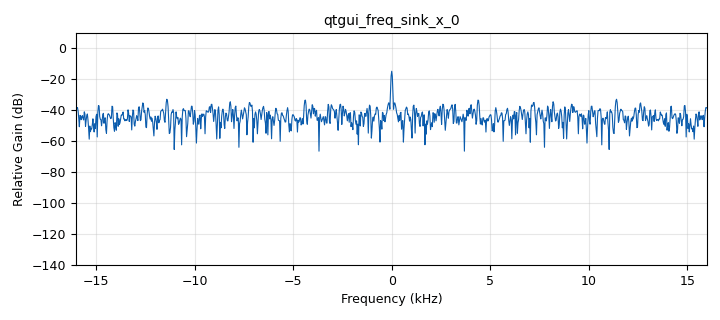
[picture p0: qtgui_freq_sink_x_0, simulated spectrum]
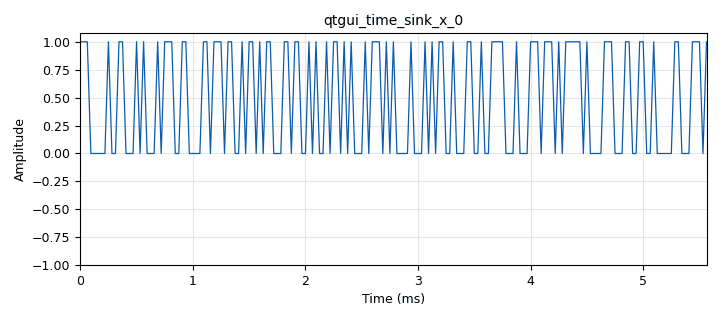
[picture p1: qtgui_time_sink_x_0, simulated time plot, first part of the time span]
options:
  parameters:
    generate_options: qt_gui
    id: sineWaveFlowgrph
    output_language: python
    title: My 1st flowgraph
  states: {}

blocks:
- name: frequency
  id: variable_qtgui_range
  parameters:
    start: '0'
    step: '1'
    stop: '100'
    value: '50'
  states: {}
- name: samp_rate
  id: variable
  parameters:
    value: '32000'
  states: {}
- name: variable_qtgui_chooser_0
  id: variable_qtgui_chooser
  parameters:
    num_opts: '3'
    option0: '0'
    option1: '1'
    option2: '2'
    type: int
    value: '0'
  states: {}
- name: analog_random_source_x_0
  id: analog_random_source_x
  parameters:
    max: '2'
    min: '0'
    num_samps: '1000'
    repeat: 'True'
    type: byte
  states: {}
- name: analog_sig_source_x_0
  id: analog_sig_source_x
  parameters:
    amp: '3'
    freq: frequency
    offset: '0'
    phase: '0'
    samp_rate: samp_rate
    type: float
    waveform: analog.GR_COS_WAVE
  states: {state: disabled}
- name: blocks_char_to_float_0
  id: blocks_char_to_float
  parameters:
    scale: '1'
  states: {}
- name: blocks_throttle2_0
  id: blocks_throttle2
  parameters:
    samples_per_second: samp_rate
    type: byte
  states: {}
- name: qtgui_freq_sink_x_0
  id: qtgui_freq_sink_x
  parameters:
    bw: samp_rate
    fc: '0'
    fftsize: '1024'
    type: float
  states: {}
- name: qtgui_time_sink_x_0
  id: qtgui_time_sink_x
  parameters:
    size: '1024'
    srate: samp_rate
    type: float
  states: {}

connections:
- [analog_random_source_x_0, '0', blocks_throttle2_0, '0']
- [blocks_char_to_float_0, '0', qtgui_freq_sink_x_0, '0']
- [blocks_char_to_float_0, '0', qtgui_time_sink_x_0, '0']
- [blocks_throttle2_0, '0', blocks_char_to_float_0, '0']

metadata:
  file_format: 1
  grc_version: 3.10.12.0
